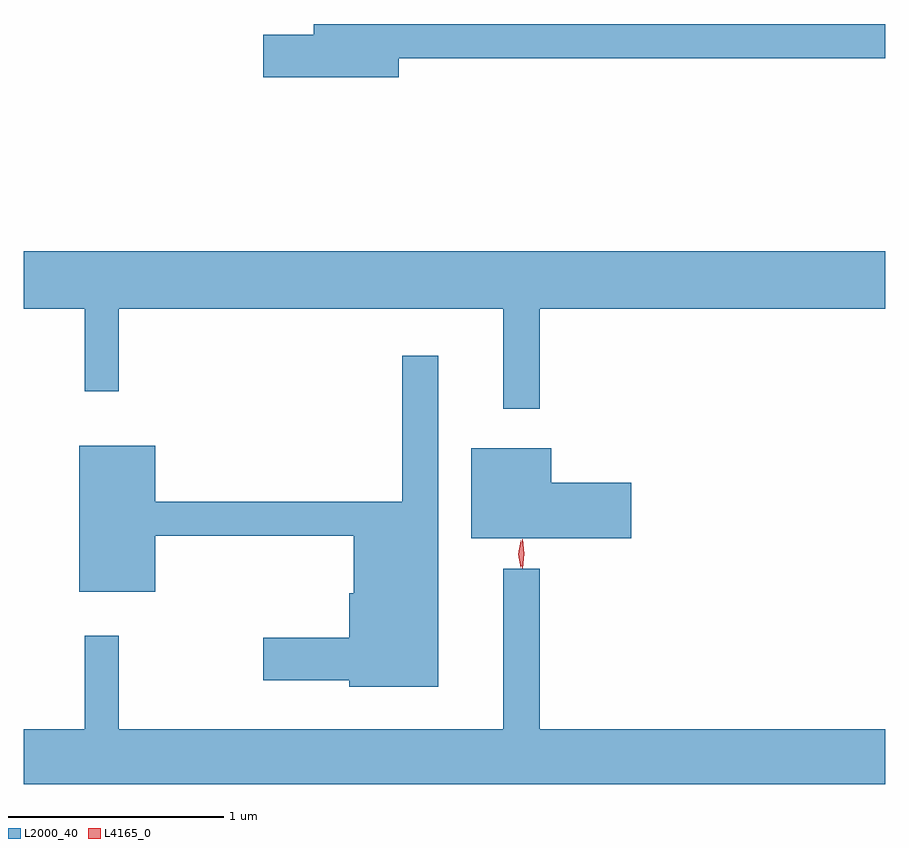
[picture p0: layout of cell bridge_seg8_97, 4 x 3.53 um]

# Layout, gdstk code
import gdstk
lib = gdstk.Library(unit=1e-6, precision=1e-09)
def P(c, l, *ps):  # polygons
    for p in ps: c.add(gdstk.Polygon(p, *l))
L2000_40 = (2000, 40)
L4165_0 = (4165, 0)

bridge_seg8_97 = lib.new_cell('bridge_seg8_97')
P(bridge_seg8_97, L2000_40, [(1529.764,1810.941),(1532.024,1810.941),(1532.024,1811.099),(1529.371,1811.099),(1529.371,1811.049),(1529.136,1811.049),(1529.136,1810.851),(1529.764,1810.851)],
  [(1530.419,1809.776),(1532.024,1809.776),(1532.024,1810.044),(1528.024,1810.044),(1528.024,1809.776),(1528.306,1809.776),(1528.306,1809.393),(1528.464,1809.393),(1528.464,1809.776),(1530.251,1809.776),(1530.251,1809.313),(1530.419,1809.313)],
  [(1529.949,1809.558),(1529.781,1809.558),(1529.781,1808.879),(1528.634,1808.879),(1528.634,1809.139),(1528.281,1809.139),(1528.281,1808.461),(1528.634,1808.461),(1528.634,1808.721),(1529.556,1808.721),(1529.556,1808.454),(1529.536,1808.454),(1529.536,1808.249),(1529.136,1808.249),(1529.136,1808.051),(1529.536,1808.051),(1529.536,1808.021),(1529.949,1808.021)],
  [(1530.844,1808.969),(1530.474,1808.969),(1530.474,1809.129),(1530.101,1809.129),(1530.101,1808.711),(1530.844,1808.711)],
  [(1532.024,1807.824),(1530.419,1807.824),(1530.419,1808.568),(1530.251,1808.568),(1530.251,1807.824),(1528.464,1807.824),(1528.464,1808.258),(1528.306,1808.258),(1528.306,1807.824),(1528.024,1807.824),(1528.024,1807.569),(1532.024,1807.569)])
P(bridge_seg8_97, L4165_0, [(1530.339,1808.57),(1530.339,1808.57),(1530.329,1808.638),(1530.339,1808.705),(1530.339,1808.706),(1530.34,1808.705),(1530.349,1808.638),(1530.34,1808.57)],
  [(1530.331,1808.573),(1530.321,1808.636),(1530.331,1808.699),(1530.331,1808.7),(1530.332,1808.699),(1530.341,1808.636),(1530.332,1808.573),(1530.332,1808.573)])

lib.write_gds('bridge_seg8_97.gds')
